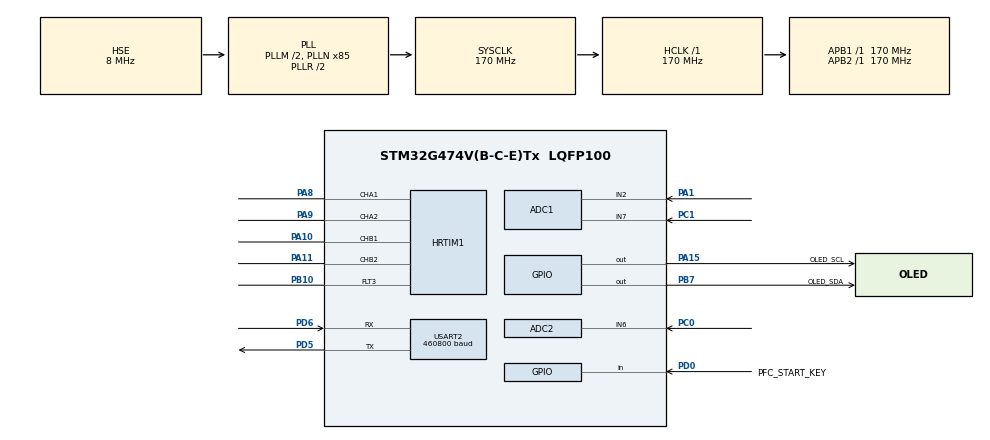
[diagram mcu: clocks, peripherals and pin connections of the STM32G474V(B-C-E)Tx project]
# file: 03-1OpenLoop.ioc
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ADC1.AWD1HighThreshold=4095
ADC1.AWD1ITMode=ENABLE
ADC1.AWD1LowThreshold=0
ADC1.AWD2HighThreshold=4080
ADC1.AWD2ITMode=ENABLE
ADC1.AWDChannel-1\#ChannelRegularConversion=ADC_CHANNEL_7
ADC1.Channel-0\#ChannelRegularConversion=ADC_CHANNEL_2
ADC1.Channel-1\#ChannelRegularConversion=ADC_CHANNEL_7
ADC1.ClockPrescaler=ADC_CLOCK_ASYNC_DIV4
ADC1.DMAContinuousRequests=ENABLE
ADC1.EOCSelection=ADC_EOC_SEQ_CONV
ADC1.EnableAnalogWatchDog1=true
ADC1.EnableAnalogWatchDog2=true
ADC1.EnableAnalogWatchDog3=false
ADC1.ExternalTrigConv=ADC_EXTERNALTRIG_HRTIM_TRG1
ADC1.MonitoredBy-1\#ChannelRegularConversion=ADC_ANALOGWATCHDOG_2
ADC1.NbrOfConversion=2
ADC1.NbrOfConversionFlag=1
ADC1.OffsetNumber-0\#ChannelRegularConversion=ADC_OFFSET_NONE
ADC1.OffsetNumber-1\#ChannelRegularConversion=ADC_OFFSET_NONE
ADC1.Overrun=ADC_OVR_DATA_OVERWRITTEN
ADC1.Rank-0\#ChannelRegularConversion=1
ADC1.Rank-1\#ChannelRegularConversion=2
ADC1.RegFilteringConfig-1\#ChannelRegularConversion=ADC_AWD_FILTERING_NONE
ADC1.SamplingTime-0\#ChannelRegularConversion=ADC_SAMPLETIME_24CYCLES_5
ADC1.SamplingTime-1\#ChannelRegularConversion=ADC_SAMPLETIME_24CYCLES_5
ADC1.WDG2ChannelR2=ADC_CHANNEL_7
ADC1.WatchdogChannel=ADC_CHANNEL_2
ADC1.WatchdogMode2=ADC_ANALOGWATCHDOG_SINGLE_REGINJEC
ADC1.master=1
ADC2.AWD1HighThreshold=4095
ADC2.AWD1ITMode=ENABLE
ADC2.Channel-0\#ChannelRegularConversion=ADC_CHANNEL_6
ADC2.ClockPrescaler=ADC_CLOCK_ASYNC_DIV4
ADC2.DMAContinuousRequests=ENABLE
ADC2.EnableAnalogWatchDog1=true
ADC2.ExternalTrigConv=ADC_EXTERNALTRIG_HRTIM_TRG1
ADC2.NbrOfConversion=1
ADC2.NbrOfConversionFlag=1
ADC2.OffsetNumber-0\#ChannelRegularConversion=ADC_OFFSET_NONE
ADC2.Overrun=ADC_OVR_DATA_OVERWRITTEN
ADC2.Rank-0\#ChannelRegularConversion=1
ADC2.SamplingTime-0\#ChannelRegularConversion=ADC_SAMPLETIME_24CYCLES_5
ADC2.WatchdogChannel=ADC_CHANNEL_6
Dma.ADC1.0.Direction=DMA_PERIPH_TO_MEMORY
Dma.ADC1.0.EventEnable=DISABLE
Dma.ADC1.0.Instance=DMA1_Channel1
Dma.ADC1.0.MemDataAlignment=DMA_MDATAALIGN_HALFWORD
Dma.ADC1.0.MemInc=DMA_MINC_ENABLE
Dma.ADC1.0.Mode=DMA_CIRCULAR
Dma.ADC1.0.PeriphDataAlignment=DMA_PDATAALIGN_HALFWORD
Dma.ADC1.0.PeriphInc=DMA_PINC_DISABLE
Dma.ADC1.0.Polarity=HAL_DMAMUX_REQ_GEN_RISING
Dma.ADC1.0.Priority=DMA_PRIORITY_HIGH
Dma.ADC1.0.RequestNumber=1
Dma.ADC1.0.SignalID=NONE
Dma.ADC1.0.SyncEnable=DISABLE
Dma.ADC1.0.SyncPolarity=HAL_DMAMUX_SYNC_NO_EVENT
Dma.ADC1.0.SyncRequestNumber=1
Dma.ADC1.0.SyncSignalID=NONE
Dma.ADC2.1.Direction=DMA_PERIPH_TO_MEMORY
Dma.ADC2.1.EventEnable=DISABLE
Dma.ADC2.1.Instance=DMA1_Channel2
Dma.ADC2.1.MemDataAlignment=DMA_MDATAALIGN_HALFWORD
Dma.ADC2.1.MemInc=DMA_MINC_ENABLE
Dma.ADC2.1.Mode=DMA_CIRCULAR
Dma.ADC2.1.PeriphDataAlignment=DMA_PDATAALIGN_HALFWORD
Dma.ADC2.1.PeriphInc=DMA_PINC_DISABLE
Dma.ADC2.1.Polarity=HAL_DMAMUX_REQ_GEN_RISING
Dma.ADC2.1.Priority=DMA_PRIORITY_HIGH
Dma.ADC2.1.RequestNumber=1
Dma.ADC2.1.SignalID=NONE
Dma.ADC2.1.SyncEnable=DISABLE
Dma.ADC2.1.SyncPolarity=HAL_DMAMUX_SYNC_NO_EVENT
Dma.ADC2.1.SyncRequestNumber=1
Dma.ADC2.1.SyncSignalID=NONE
Dma.Request0=ADC1
Dma.Request1=ADC2
HRTIM1.ADCTrigger1_Source1=HRTIM_ADCTRIGGEREVENT13_MASTER_CMP2
HRTIM1.ADCTrigger_Id1=HRTIM_ADCTRIGGER_1
HRTIM1.BlankingSourceFaultLine3=__NULL
HRTIM1.Bmrom_TA=HRTIM_TIM_BMROM_BOTH
HRTIM1.Bmrom_TB=HRTIM_TIM_BMROM_BOTH
HRTIM1.CompareUnit1-Output_TA1TA2=HRTIM_COMPAREUNIT_1
HRTIM1.CompareUnit1-Output_TB1TB2=HRTIM_COMPAREUNIT_1
HRTIM1.CompareUnit2-MasterTimer=HRTIM_COMPAREUNIT_2
HRTIM1.CompareValue1-Output_TA1TA2=17000
HRTIM1.CompareValue1-Output_TB1TB2=17000
HRTIM1.CompareValue2-MasterTimer=17000
HRTIM1.DeadTimeInsertion-Output_TA1TA2=HRTIM_TIMDEADTIMEINSERTION_ENABLED
HRTIM1.DeadTimeInsertion-Output_TB1TB2=HRTIM_TIMDEADTIMEINSERTION_ENABLED
HRTIM1.FallingValue-Output_TA1TA2=85
HRTIM1.FallingValue-Output_TB1TB2=85
HRTIM1.FaultEnable_Source1-Output_TA1TA2=HRTIM_TIMFAULTENABLE_FAULT3
HRTIM1.FaultEnable_Source1-Output_TB1TB2=HRTIM_TIMFAULTENABLE_FAULT3
HRTIM1.FaultLevel1-Output_TA1TA2=HRTIM_OUTPUTFAULTLEVEL_INACTIVE
HRTIM1.FaultLevel1-Output_TB1TB2=HRTIM_OUTPUTFAULTLEVEL_INACTIVE
HRTIM1.FaultLevel2-Output_TA1TA2=HRTIM_OUTPUTFAULTLEVEL_INACTIVE
HRTIM1.FaultLevel2-Output_TB1TB2=HRTIM_OUTPUTFAULTLEVEL_INACTIVE
HRTIM1.Fault_Line3=HRTIM_FAULT_3
HRTIM1.Ferom_TA=HRTIM_TIM_FEROM_BOTH
HRTIM1.Ferom_TB=HRTIM_TIM_FEROM_BOTH
HRTIM1.HRTIMInterruptResquests1=HRTIM_IT_FLT3
HRTIM1.NumberADCTriggerSource1=1
HRTIM1.NumberFaultEnable-Output_TA1TA2=1
HRTIM1.NumberFaultEnable-Output_TB1TB2=1
HRTIM1.NumberResetSource1-Output_TA1TA2=1
HRTIM1.NumberResetSource1-Output_TB1TB2=1
HRTIM1.NumberSetSource1-Output_TA1TA2=1
HRTIM1.NumberSetSource1-Output_TB1TB2=1
HRTIM1.NumberUpdateTrigger-Output_TA1TA2=0
HRTIM1.Outrom_TA=HRTIM_TIM_OUTROM_VALLEY
HRTIM1.Outrom_TB=HRTIM_TIM_OUTROM_VALLEY
HRTIM1.Periode_MASTER=34000
HRTIM1.Periode_TA=34000
HRTIM1.Periode_TB=34000
HRTIM1.Polarity_FaultLine3=HRTIM_FAULTPOLARITY_LOW
HRTIM1.PreloadEnable-Output_TA1TA2=HRTIM_PRELOAD_ENABLED
HRTIM1.PreloadEnable-Output_TB1TB2=HRTIM_PRELOAD_ENABLED
HRTIM1.PrescalerDead-Output_TA1TA2=HRTIM_TIMDEADTIME_PRESCALERRATIO_DIV1
HRTIM1.PrescalerDead-Output_TB1TB2=HRTIM_TIMDEADTIME_PRESCALERRATIO_DIV1
HRTIM1.PrescalerRatio_MASTER=HRTIM_PRESCALERRATIO_MUL2
HRTIM1.PrescalerRatio_TA=HRTIM_PRESCALERRATIO_MUL4
HRTIM1.PrescalerRatio_TB=HRTIM_PRESCALERRATIO_MUL4
HRTIM1.RepetitionCounter-MasterTimer=0
HRTIM1.RepetitionCounter-Output_TA1TA2=0
HRTIM1.RepetitionCounter-Output_TB1TB2=0
HRTIM1.RepetitionUpdate-Output_TA1TA2=HRTIM_UPDATEONREPETITION_ENABLED
HRTIM1.RepetitionUpdate-Output_TB1TB2=HRTIM_UPDATEONREPETITION_ENABLED
HRTIM1.ResetOutput1_Source1-Output_TA1TA2=HRTIM_OUTPUTRESET_TIMCMP1
HRTIM1.ResetOutput1_Source1-Output_TB1TB2=HRTIM_OUTPUTRESET_TIMCMP1
HRTIM1.RisingValue-Output_TA1TA2=85
HRTIM1.RisingValue-Output_TB1TB2=85
HRTIM1.SetOutput1_Source1-Output_TA1TA2=HRTIM_OUTPUTSET_TIMCMP1
HRTIM1.SetOutput1_Source1-Output_TB1TB2=HRTIM_OUTPUTSET_TIMCMP1
HRTIM1.UpDownMode-Output_TA1TA2=HRTIM_TIMERUPDOWNMODE_UPDOWN
HRTIM1.UpDownMode-Output_TB1TB2=HRTIM_TIMERUPDOWNMODE_UPDOWN
HRTIM1.postscaler1=0
HRTIM1.rom_TA=HRTIM_TIM_ROM_VALLEY
HRTIM1.rom_TB=HRTIM_TIM_ROM_VALLEY
IWDG.Prescaler=IWDG_PRESCALER_64
IWDG.Reload=249
Mcu.Family=STM32G4
Mcu.Name=STM32G474V(B-C-E)Tx
Mcu.Package=LQFP100
NVIC.ADC1_2_IRQn=true\:1\:0\:true\:false\:true\:true\:true\:true
NVIC.DMA1_Channel1_IRQn=true\:2\:0\:true\:false\:true\:false\:true\:true
NVIC.DMA1_Channel2_IRQn=true\:1\:0\:true\:false\:true\:false\:true\:true
NVIC.HRTIM1_FLT_IRQn=true\:0\:0\:false\:false\:true\:true\:true\:true
NVIC.PriorityGroup=NVIC_PRIORITYGROUP_4
PA1.Mode=IN2-Single-Ended
PA1.Signal=ADC1_IN2
PA10.Mode=Output_TB1TB2
PA10.Signal=HRTIM1_CHB1
PA11.Mode=Output_TB1TB2
PA11.Signal=HRTIM1_CHB2
PA13.Mode=Serial_Wire
PA13.Signal=SYS_JTMS-SWDIO
PA14.Mode=Serial_Wire
PA14.Signal=SYS_JTCK-SWCLK
PA15.GPIO_Label=OLED_SCL
PA15.GPIO_ModeDefaultOutputPP=GPIO_MODE_OUTPUT_PP
PA15.GPIO_PuPd=GPIO_NOPULL
PA15.GPIO_Speed=GPIO_SPEED_FREQ_HIGH
PA15.Signal=GPIO_Output
PA8.Mode=Output_TA1TA2
PA8.Signal=HRTIM1_CHA1
PA9.Mode=Output_TA1TA2
PA9.Signal=HRTIM1_CHA2
PB10.GPIO_PuPd=GPIO_PULLUP
PB10.Mode=Fault_Enable3
PB10.Signal=HRTIM1_FLT3
PB7.GPIO_Label=OLED_SDA
PB7.GPIO_ModeDefaultOutputPP=GPIO_MODE_OUTPUT_OD
PB7.GPIO_PuPd=GPIO_NOPULL
PB7.GPIO_Speed=GPIO_SPEED_FREQ_HIGH
PB7.Signal=GPIO_Output
PC0.Mode=IN6-Single-Ended
PC0.Signal=ADC2_IN6
PC1.Mode=IN7-Single-Ended
PC1.Signal=ADC1_IN7
PD0.GPIO_Label=PFC_START_KEY
PD0.GPIO_PuPd=GPIO_PULLUP
PD0.Signal=GPIO_Input
PD5.Mode=Asynchronous
PD5.Signal=USART2_TX
PD6.Mode=Asynchronous
PD6.Signal=USART2_RX
PF0-OSC_IN.Mode=HSE-External-Oscillator
PF0-OSC_IN.Signal=RCC_OSC_IN
PF1-OSC_OUT.Mode=HSE-External-Oscillator
PF1-OSC_OUT.Signal=RCC_OSC_OUT
ProjectManager.HeapSize=0x200
ProjectManager.StackSize=0x400
ProjectManager.TargetToolchain=MDK-ARM V5.32
RCC.ADC12Freq_Value=170000000
RCC.ADC345Freq_Value=170000000
RCC.AHBFreq_Value=170000000
RCC.APB1Freq_Value=170000000
RCC.APB1TimFreq_Value=170000000
RCC.APB2Freq_Value=170000000
RCC.APB2TimFreq_Value=170000000
RCC.CortexFreq_Value=170000000
RCC.EXTERNAL_CLOCK_VALUE=12288000
RCC.EnbaleCSS=true
RCC.HCLKFreq_Value=170000000
RCC.HSE_VALUE=8000000
RCC.HSI48_VALUE=48000000
RCC.HSI_VALUE=16000000
RCC.LSE_VALUE=32768
RCC.PLLM=RCC_PLLM_DIV2
RCC.PLLN=85
RCC.PLLSourceVirtual=RCC_PLLSOURCE_HSE
RCC.SYSCLKFreq_VALUE=170000000
RCC.SYSCLKSource=RCC_SYSCLKSOURCE_PLLCLK
RCC.USBFreq_Value=170000000
RCC.VCOOutputFreq_Value=340000000
USART2.BaudRate=460800
USART2.VirtualMode-Asynchronous=VM_ASYNC
VP_HRTIM1_VS_hrtimMasterTimerNoOutput.Mode=MasterTimer
VP_IWDG_VS_IWDG.Mode=IWDG_Activate
VP_SYS_VS_DBSignals.Mode=DisableDeadBatterySignals
board=custom

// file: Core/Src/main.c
/* USER CODE BEGIN Header */
/**
  ******************************************************************************
  * @file           : main.c
  * @brief          : 5 V单相PWM整流器开环验证主程序
  ******************************************************************************
  * @attention
  *
  * Copyright (c) 2026 STMicroelectronics.
  * All rights reserved.
  *
  * This software is licensed under terms that can be found in the LICENSE file
  * in the root directory of this software component.
  * If no LICENSE file comes with this software, it is provided AS-IS.
  *
  ******************************************************************************
  */
/*
 * 本文件负责CubeMX外设初始化、PFC应用模块装配、低速显示/通信调度以及HAL回调转发，
 * 不在主循环中直接计算PWM调制，也不直接解释DMA缓冲区中的半更新数据。
 *
 * 启动数据流：GPIO安全态 -> ADC校准/AWD -> 双ADC循环DMA -> HRTIM采样时基 -> IWDG。
 * 运行数据流：HRTIM TRG1 -> ADC/DMA回调 -> 测量快照/10 kHz控制；主循环只处理
 * 1 ms状态机、10 ms VOFA、100 ms OLED和100 ms安全监督。
 *
 * 当前板卡没有MCU可控Gate Enable。打开TA1/TA2/TB1/TB2即可能驱动功率器件；
 * calibration_valid为0时，状态机必须停留在标定路径，PD0操作也不得开放PWM。
 */
/* USER CODE END Header */
#include "main.h"
#include "adc.h"
#include "dma.h"
#include "hrtim.h"
#include "usart.h"
#include "gpio.h"

/* USER CODE BEGIN Includes */
#include "OLED.h"
#include "pfc_measure.h"
#include "pfc_hrtim.h"
#include "iwdg.h"
#include "vofa.h"
#include "pfc_params.h"
#include "pfc_app.h"
#include "SPWM.h"  /* HRTIM单相全桥单极性倍频SPWM模块。 */
/* USER CODE END Includes */

/* USER CODE BEGIN PV */

/*
 * VOFA JustFloat发送缓存，由主循环每10 ms写入并阻塞发送，固定使用8个通道。
 * 标定无效时CH0~CH2为IPFC/VAC/VBUS原始码，其余测量通道清零；标定有效时
 * CH0~CH6依次为VAC、VAC_RMS、IPFC、IPFC_RMS、VBUS、电流指令和调制量。
 * CH7在两种模式下都编码PFC状态与故障位，具体打包关系见主循环发送位置。
 */
static float vofa_data[VOFA_MAX_CHANNELS] = {0.0f};

/* VOFA发送结果累计值，仅由主循环写，供Keil Watch判断调试串口是否持续工作。 */
static uint32_t vofa_tx_ok_count = 0U;
static uint32_t vofa_tx_error_count = 0U;

/* 当前编译期参数档的常驻只读地址；初始化后由main和各PFC模块共同读取。 */
static const PFC_Params *pfc_params = NULL;

/* 上电复位来源快照：1表示IWDG复位；只在初始化时写入并传给状态机。 */
static uint8_t pfc_iwdg_reset_seen = 0U;

/* USER CODE END PV */

void SystemClock_Config(void);

/**
  * @brief  完成安全初始化并运行PFC后台调度循环。
  * @retval 正常情况下不会返回。
  * @note   功率输出许可由PFC状态机控制；本函数不绕过标定和PD0启动条件。
  */
int main(void)
{

  /* MCU Configuration--------------------------------------------------------*/

  /* Reset of all peripherals, Initializes the Flash interface and the Systick. */
  HAL_Init();

  /* Configure the system clock */
  SystemClock_Config();

  /* Initialize all configured peripherals */
  MX_GPIO_Init();
  MX_DMA_Init();
  MX_HRTIM1_Init();
  MX_ADC1_Init();
  MX_ADC2_Init();
  MX_USART2_UART_Init();
  /* USER CODE BEGIN 2 */

  /* CubeMX初始化结束后第一时间保持四路输出关闭；当前板卡没有独立Gate Enable。 */
  PFC_HRTIM_StopPower();

  pfc_iwdg_reset_seen = (__HAL_RCC_GET_FLAG(RCC_FLAG_IWDGRST) != RESET) ? 1U : 0U;
  __HAL_RCC_CLEAR_RESET_FLAGS();
  pfc_params = PFC_Params_GetActive();

	/*
	 * 上电后先等待OLED内部电源和电荷泵稳定。该延时只在初始化阶段执行，
	 * 不能放入主循环或快速采样回调，否则会阻塞后台任务或控制节拍。
	 */
	HAL_Delay(100);
	OLED_Init();

	/* 初始化测量模块的软件状态、DMA样本快照、序列号和故障标志。 */
	PFC_Measure_Init(pfc_params);
	PFC_AppInit(pfc_params, pfc_iwdg_reset_seen);

	/*
	 * 固定标签只写一次，避免软件I2C在主循环中重复传输不变内容：
	 * I：IPFC输入电感电流；V：VAC交流输入电压；
	 * D：VBUS直流母线电压；S：快速采样心跳，行末显示故障位。
	 * 各测量行左侧为ADC原始码，右侧为换算后的工程量。
	 * 采样心跳由ADC1完整DMA回调以10 kHz递增，用于确认双ADC同步快照持续发布；
	 * 故障码来自PFC_FaultMask；当前运行路径会记录ADC同步/范围/AWD、HRTIM Fault、
	 * 软件过流、母线过压、VAC同步丢失、参数、调制、状态和目标建立超时。
	 * IWDG复位来源另存于pfc_iwdg_reset_seen，用于延长SAFE等待，不自动置故障位。
	 */
	OLED_ShowString(1, 1, "I:");
	OLED_ShowString(2, 1, "V:");
	OLED_ShowString(3, 1, "D:");
	OLED_ShowString(4, 1, "S:");

  /* ADC校准必须在启动规则组DMA之前完成，此时HRTIM尚未产生ADC触发。 */
  if (HAL_ADCEx_Calibration_Start(&hadc2, ADC_SINGLE_ENDED) != HAL_OK)
  {
    PFC_Measure_Trip(PFC_FAULT_ADC_ERROR);
    Error_Handler();
  }

  /* 再校准IPFC和VBUS使用的ADC1。 */
  if (HAL_ADCEx_Calibration_Start(&hadc1, ADC_SINGLE_ENDED) != HAL_OK)
  {
    PFC_Measure_Trip(PFC_FAULT_ADC_ERROR);
    Error_Handler();
  }

  /*
   * 标定有效时按参数档重写IPFC、VBUS和VAC看门狗阈值；标定无效时函数保留
   * CubeMX宽窗口。AWD配置必须早于HAL_ADC_Start_DMA()，避免转换期间改模式。
   */
  if (PFC_Measure_ConfigureWatchdogs(&hadc1, &hadc2) != HAL_OK)
  {
    PFC_Measure_Trip(PFC_FAULT_PARAM | PFC_FAULT_ADC_ERROR);
    Error_Handler();
  }

  /*
   * ADC2规则组只有VAC一个Rank。先启动ADC2 DMA，使其提前进入等待
   * HRTIM_TRG1的状态。DMA硬件更新VAC原始数组，完整传输回调只推进
   * adc2_sequence，供随后完成的ADC1回调判断两个ADC是否属于同一采样节拍。
   */
  if (HAL_ADC_Start_DMA(&hadc2, (uint32_t *)PFC_Adc2Dma, 1U) != HAL_OK)
  {
    PFC_Measure_Trip(PFC_FAULT_ADC_ERROR);
    Error_Handler();
  }

  /*
   * ADC1规则组依次采集IPFC和VBUS，DMA长度2必须与Rank数量一致。
   * ADC1完成回调在两个Rank均搬运结束后发生，并作为唯一10 kHz快速入口；
   * ADC2回调只发布VAC序列，不能再次执行同一周期的控制或测量处理。
   */
  if (HAL_ADC_Start_DMA(&hadc1, (uint32_t *)PFC_Adc1Dma, 2U) != HAL_OK)
  {
    PFC_Measure_Trip(PFC_FAULT_ADC_ERROR);
    Error_Handler();
  }

  /*
   * 循环DMA默认会产生Half Transfer和Transfer Complete两类中断。
   * 本工程只在一整个规则序列完成后处理样本，因此关闭HT中断，
   * 避免ADC1 Rank 1完成时提前读取尚未更新的VBUS并重复进入回调。
   */
  __HAL_DMA_DISABLE_IT(hadc2.DMA_Handle, DMA_IT_HT);
  __HAL_DMA_DISABLE_IT(hadc1.DMA_Handle, DMA_IT_HT);

  /*
   * 启动Master、Timer A/B计数器以产生10 kHz ADC Trigger。
   * 此函数只建立采样时基，不开放TA1/TA2/TB1/TB2输出。
   */
  if (PFC_HRTIM_StartSampling() != HAL_OK)
  {
    PFC_Measure_Trip(PFC_FAULT_HRTIM);
    Error_Handler();
  }

  /*
   * IWDG放在可能耗时或失败的初始化之后启动。启动后不能关闭，只有在
   * ADC序列、测量快照和故障状态均正常时才刷新，异常时允许其复位系统。
   */
  MX_IWDG_Init();

  /* USER CODE END 2 */

  /* Infinite loop */
  /* USER CODE BEGIN WHILE */

  /* ms Tick；主循环独占写入，用于把OLED刷新限制为100 ms一次。 */
  uint32_t oled_tick = HAL_GetTick();

  /* ms Tick；主循环独占写入，VOFA约每秒发送100帧且不追补过期帧。 */
  uint32_t vofa_tick = HAL_GetTick();

  /* ms Tick；安全监督与OLED独立计时，显示任务不能改变喂狗判据。 */
  uint32_t safety_tick = HAL_GetTick();
  /* 上一监督窗口的ADC序列快照；每100 ms更新，用于检测任一路DMA停滞。 */
  uint32_t safety_last_adc1_sequence = 0U;
  uint32_t safety_last_adc2_sequence = 0U;
  /* ms Tick；通过逐毫秒追赶调用状态机，短暂主循环延迟不会跳过消抖计时。 */
  uint32_t app_tick = HAL_GetTick();
  while (1)
  {
    /* USER CODE END WHILE */

    /* USER CODE BEGIN 3 */

    while ((HAL_GetTick() - app_tick) >= 1U)
    {
      app_tick++;
      PFC_AppTick1ms();
    }

	/*
	 * 每10 ms发送一次VOFA数据。阻塞式USART只允许放在主循环，
	 * 不能放进10 kHz ADC DMA回调，否则会破坏快速采样和后续控制节拍。
	 */
	if ((HAL_GetTick() - vofa_tick) >= 10U)
	{
		PFC_Measurement vofa_measurement;

		/* 以当前时刻为新基准，主循环偶尔延迟时不连续补发旧帧。 */
		vofa_tick = HAL_GetTick();

		/* 读取ISR已经发布的完整快照，不直接读取正在由DMA改写的数组。 */
		PFC_Measure_GetSnapshot(&vofa_measurement);

		/*
		 * 标定状态：CH0~CH2发送IPFC/VAC/VBUS原始码，CH3~CH6固定清零。
		 * 其他状态：CH0~CH6发送VAC、VAC_RMS、IPFC、IPFC_RMS、VBUS、电流指令和调制量。
		 */
		if (PFC_AppCalibrationValid() == 0U)
		{
			/* 标定状态只发送可信的原始码；占位换算值不作为工程量展示。 */
			vofa_data[0] = (float)vofa_measurement.ipfc_raw;
			vofa_data[1] = (float)vofa_measurement.vac_raw;
			vofa_data[2] = (float)vofa_measurement.vbus_raw;
			vofa_data[3] = 0.0f;
			vofa_data[4] = 0.0f;
			vofa_data[5] = 0.0f;
			vofa_data[6] = 0.0f;
		}
		else
		{
			vofa_data[0] = vofa_measurement.vac;
			vofa_data[1] = vofa_measurement.vac_rms;
			vofa_data[2] = vofa_measurement.ipfc;
			vofa_data[3] = vofa_measurement.ipfc_rms;
			vofa_data[4] = vofa_measurement.vbus;
			vofa_data[5] = SPWM_GetCurrentCommand();
			vofa_data[6] = SPWM_GetModulation();
		}

		/* CH7高16位为PFC_State，低16位为锁存故障；转为float仅用于JustFloat传输。 */
		vofa_data[7] = (float)(((uint32_t)PFC_AppGetState() << 16) |
		                            (vofa_measurement.fault_bits & 0xFFFFU));

		/*
		 * HAL_OK只能说明MCU已完成串口发送，最终链路仍需观察VOFA曲线确认。
		 * 调试通信不是保护条件，因此发送失败只计数，不停ADC/HRTIM也不喂故障。
		 */
		if (VOFA_Send(&huart2, vofa_data, VOFA_MAX_CHANNELS) == HAL_OK)
		{
			vofa_tx_ok_count++;
		}
		else
		{
			vofa_tx_error_count++;
		}
	}

	/*
	 * 每100 ms执行一次低速显示和安全监督。这里使用无阻塞的Tick差值，
	 * 而不是HAL_Delay()，以便主循环后续继续加入状态机和通信任务。
	 */
	if ((HAL_GetTick() - oled_tick) >= 100U)
    {
		/* 记录本次实际执行时刻；OLED写屏超时后不连续追赶历史周期。 */
		oled_tick = HAL_GetTick();
        PFC_Measurement measurement;
        int32_t ipfc_ma;
        int32_t vac_cv;
        uint32_t vbus_cv;

        /*
         * 主循环不直接读取正在被DMA改写的PFC_Adc1Dma/PFC_Adc2Dma。
         * 通过测量模块取得同一发布时刻的完整快照，避免显示半更新数据。
         */
        PFC_Measure_GetSnapshot(&measurement);

        if (PFC_AppCalibrationValid() != 0U)
        {
          /* 标定后才把工程量换成整数显示：mA以及0.01 V。 */
          ipfc_ma = (int32_t)(measurement.ipfc * 1000.0f);
          vac_cv = (int32_t)(measurement.vac * 100.0f);
          vbus_cv = (uint32_t)(measurement.vbus * 100.0f);
        }
        else
        {
          /* CAL模式右侧工程量固定为0，防止把占位比例误认为实测结果。 */
          ipfc_ma = 0;
          vac_cv = 0;
          vbus_cv = 0U;
        }

        /* 固定标签已在初始化阶段写入，此处只更新会变化的数字区域。 */
        OLED_ShowNum(1, 3, measurement.ipfc_raw, 4);
        OLED_ShowSignedNum(1, 8, ipfc_ma, 5);

        OLED_ShowNum(2, 3, measurement.vac_raw, 4);
        OLED_ShowSignedNum(2, 8, vac_cv, 5);

        OLED_ShowNum(3, 3, measurement.vbus_raw, 4);
        OLED_ShowNum(3, 8, vbus_cv, 5);

        OLED_ShowNum(4, 3, measurement.fast_heartbeat % 100000U, 5);
        OLED_ShowNum(4, 9, (uint32_t)PFC_AppGetState(), 1);
        OLED_ShowHexNum(4, 11, measurement.fault_bits, 3);
    }

    if ((HAL_GetTick() - safety_tick) >= 100U)
    {
      PFC_Measurement safety_measurement;

      safety_tick = HAL_GetTick();
      PFC_Measure_GetSnapshot(&safety_measurement);
      if ((safety_measurement.adc1_sequence == safety_last_adc1_sequence) ||
          (safety_measurement.adc2_sequence == safety_last_adc2_sequence))
      {
        /* 任一路DMA停滞都先锁存同步故障，再停止刷新IWDG。 */
        PFC_Measure_Trip(PFC_FAULT_ADC_SYNC);
      }
      else if (PFC_AppWatchdogHealthy() != 0U)
      {
        (void)HAL_IWDG_Refresh(&hiwdg);
      }
      safety_last_adc1_sequence = safety_measurement.adc1_sequence;
      safety_last_adc2_sequence = safety_measurement.adc2_sequence;
    }

  }
  /* USER CODE END 3 */
}

void SystemClock_Config(void)
{
  RCC_OscInitTypeDef RCC_OscInitStruct = {0};
  RCC_ClkInitTypeDef RCC_ClkInitStruct = {0};

  /** Configure the main internal regulator output voltage
  */
  HAL_PWREx_ControlVoltageScaling(PWR_REGULATOR_VOLTAGE_SCALE1_BOOST);

  /** Initializes the RCC Oscillators according to the specified parameters
  * in the RCC_OscInitTypeDef structure.
  */
  RCC_OscInitStruct.OscillatorType = RCC_OSCILLATORTYPE_LSI|RCC_OSCILLATORTYPE_HSE;
  RCC_OscInitStruct.HSEState = RCC_HSE_ON;
  RCC_OscInitStruct.LSIState = RCC_LSI_ON;
  RCC_OscInitStruct.PLL.PLLState = RCC_PLL_ON;
  RCC_OscInitStruct.PLL.PLLSource = RCC_PLLSOURCE_HSE;
  RCC_OscInitStruct.PLL.PLLM = RCC_PLLM_DIV2;
  RCC_OscInitStruct.PLL.PLLN = 85;
  RCC_OscInitStruct.PLL.PLLP = RCC_PLLP_DIV2;
  RCC_OscInitStruct.PLL.PLLQ = RCC_PLLQ_DIV2;
  RCC_OscInitStruct.PLL.PLLR = RCC_PLLR_DIV2;
  if (HAL_RCC_OscConfig(&RCC_OscInitStruct) != HAL_OK)
  {
    Error_Handler();
  }

  /** Initializes the CPU, AHB and APB buses clocks
  */
  RCC_ClkInitStruct.ClockType = RCC_CLOCKTYPE_HCLK|RCC_CLOCKTYPE_SYSCLK
                              |RCC_CLOCKTYPE_PCLK1|RCC_CLOCKTYPE_PCLK2;
  RCC_ClkInitStruct.SYSCLKSource = RCC_SYSCLKSOURCE_PLLCLK;
  RCC_ClkInitStruct.AHBCLKDivider = RCC_SYSCLK_DIV1;
  RCC_ClkInitStruct.APB1CLKDivider = RCC_HCLK_DIV1;
  RCC_ClkInitStruct.APB2CLKDivider = RCC_HCLK_DIV1;

  if (HAL_RCC_ClockConfig(&RCC_ClkInitStruct, FLASH_LATENCY_4) != HAL_OK)
  {
    Error_Handler();
  }

  /** Enables the Clock Security System
  */
  HAL_RCC_EnableCSS();
}

/* USER CODE BEGIN 4 */

/**
 * @brief ADC规则组DMA完整传输回调。
 * @param hadc 发生完整转换事件的ADC句柄。
 *
 * 两路ADC均由HRTIM Master CMP2通过HRTIM_TRG1以10 kHz触发。
 * ADC2先完成单通道VAC采样并发布序列号；ADC1完成IPFC、VBUS两个Rank后，
 * 检查ADC2的新样本并形成一次同步测量快照。控制算法后续也应只从ADC1
 * 分支进入，避免一个PWM周期执行两次。
 *
 * 该函数运行在DMA中断上下文，禁止调用OLED、阻塞式USART或HAL_Delay()。
 */
void HAL_ADC_ConvCpltCallback(ADC_HandleTypeDef *hadc)
{
  if ((hadc != NULL) && (hadc->Instance == ADC2))
  {
    PFC_Measure_OnAdc2Complete();
  }
  else if ((hadc != NULL) && (hadc->Instance == ADC1))
  {
    PFC_Measure_OnAdc1Complete();

    /* ADC1完整序列是唯一10 kHz更新入口；锁存故障后不得继续推进SPWM。 */
    if (PFC_Measure_GetFault() == PFC_FAULT_NONE)
    {
      PFC_AppFastStep();
    }
  }
}

/**
 * @brief  将任一ADC的HAL错误统一转换为锁存故障。
 * @param  hadc 发生错误的ADC句柄；当前策略不按ADC实例区分恢复方式。
 * @note   运行在ADC/DMA错误中断上下文，只允许执行非阻塞安全关断和故障记录。
 */
void HAL_ADC_ErrorCallback(ADC_HandleTypeDef *hadc)
{
  /*
   * ADC发生Overrun、DMA或内部状态错误时进入。当前不区分具体ADC，
   * 统一交给测量模块锁存ADC故障；功率控制中不能尝试自动恢复输出。
   */
  (void)hadc;
  PFC_Measure_AdcError();
}

/**
 * @brief ADC1/2模拟看门狗1越窗回调。
 * @param hadc 发生AWD1事件的ADC句柄；ADC1对应IPFC，ADC2对应VAC。
 * @note 运行在ADC1_2中断中，只执行故障锁存和HRTIM快速关断。
 */
void HAL_ADC_LevelOutOfWindowCallback(ADC_HandleTypeDef *hadc)
{
  if ((hadc != NULL) && (hadc->Instance == ADC1))
  {
    PFC_Measure_AnalogWatchdog(PFC_AWD_SOURCE_IPFC);
  }
  else if ((hadc != NULL) && (hadc->Instance == ADC2))
  {
    PFC_Measure_AnalogWatchdog(PFC_AWD_SOURCE_VAC);
  }
}

/**
 * @brief ADC1模拟看门狗2越窗回调，专门记录VBUS过压。
 * @param hadc 预期为ADC1句柄。
 * @note 运行在ADC1_2中断中；AWD2是硬件阈值检测，回调负责软件锁存和再次关断。
 */
void HAL_ADCEx_LevelOutOfWindow2Callback(ADC_HandleTypeDef *hadc)
{
  if ((hadc != NULL) && (hadc->Instance == ADC1))
  {
    PFC_Measure_AnalogWatchdog(PFC_AWD_SOURCE_VBUS);
  }
}

/**
 * @brief  记录HRTIM Fault 3事件并锁存PFC故障。
 * @param  hhrtim 产生Fault 3中断的HRTIM句柄；当前工程只有HRTIM1。
 * @note   HRTIM硬件输出无效逻辑是第一关断路径，本ISR不是短路保护的首响应路径。
 */
void HAL_HRTIM_Fault3Callback(HRTIM_HandleTypeDef *hhrtim)
{
  /*
   * Fault 3硬件逻辑已先把HRTIM输出置为Inactive；ISR随后记录故障状态，
   * 供主循环显示和状态机处理。清除中断标志不代表允许自动恢复PWM。
   */
  (void)hhrtim;
  PFC_Measure_Trip(PFC_FAULT_HRTIM);
}

/* USER CODE END 4 */

void Error_Handler(void)
{
  /* USER CODE BEGIN Error_Handler_Debug */
  /*
   * 不可恢复的初始化或HAL错误统一进入安全态：先关闭全部HRTIM计数和
   * 输出，再禁止中断并停留；若IWDG已经启动，最终由IWDG复位系统。
   * 当前驱动板没有MCU Gate Enable，因此HRTIM输出禁止就是软件关断边界。
   */
  PFC_HRTIM_StopAll();
  __disable_irq();
  while (1)
  {
  }
  /* USER CODE END Error_Handler_Debug */
}
